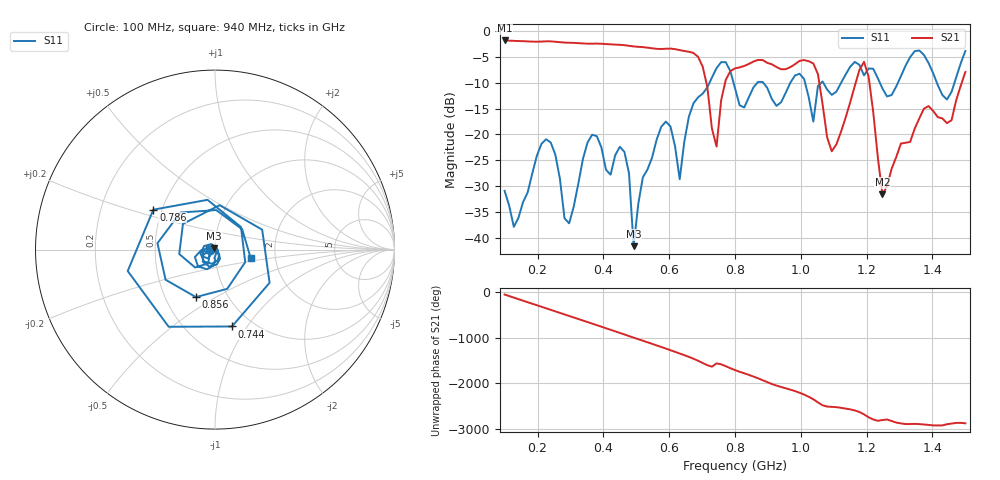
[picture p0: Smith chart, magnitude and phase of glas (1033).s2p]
! NanoVNA-App
! Date: 2025-09-25 16:03:30
! Start: 100MHz Stop: 1,5GHz Points: 101
! S-Parameter data: F S11 S21 S12 S22
# Hz S RI R 50
!  Frequency  S11_Real  S11_Imag  S21_Real  S21_Imag  S12_Real  S12_Imag  S22_Real  S22_Imag
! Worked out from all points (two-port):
!   101 points, 100 MHz to 1.5 GHz, reference 50 ohm
!   highest |S21| = -1.80 dB at 100 MHz (marker M1); lowest = -31.6 dB at 1.248 GHz (marker M2)
!   |S21| within 3 dB of the highest: start of sweep to 684.5 MHz
!   lowest |S11| = -41.6 dB at 492 MHz (marker M3), VSWR 1.02, Z = 49.5 + j0.633 ohm
!   |S11| at or under -10 dB: start of sweep to 722.5 MHz; 795.5 MHz to 867.8 MHz (72.21 MHz wide, 8.68 % of centre); 886.1 MHz to 968.1 MHz (81.98 MHz wide, 8.84 % of centre) (the widest 3 of 7)
!   S12 and S22 are empty: the file has one direction only
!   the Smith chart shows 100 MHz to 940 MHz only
!   S11 on the Smith chart (normalised r, x): 100 MHz: 0.94, -0.01; 744 MHz: 0.80, -0.85; 786 MHz: 0.45, +0.24; 856 MHz: 0.71, -0.41; 940 MHz: 1.49, -0.15
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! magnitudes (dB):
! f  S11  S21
! 100 MHz  -30.9  -1.8
! 128 MHz  -37.9  -1.9
! 226 MHz  -20.9  -2.0
! 296 MHz  -37.2  -2.2
! 338 MHz  -24.7  -2.4
! 464 MHz  -23.4  -2.7
! 492 MHz  -41.6  -3.0
! 576 MHz  -18.5  -3.5
! 632 MHz  -28.7  -3.7
! 702 MHz  -12.1  -6.9
! 744 MHz  -7.2  -22.3
! 786 MHz  -7.8  -7.7
! 800 MHz  -11.0  -7.2
! 856 MHz  -10.9  -5.9
! 940 MHz  -13.8  -7.4
! 996 MHz  -8.2  -5.8
! 1.038 GHz  -17.5  -6.3
! 1.094 GHz  -12.3  -23.3
! 1.192 GHz  -8.6  -5.9
! 1.248 GHz  -11.1  -31.6
! 1.276 GHz  -12.4  -26.6
! 1.5 GHz  -3.8  -7.9
